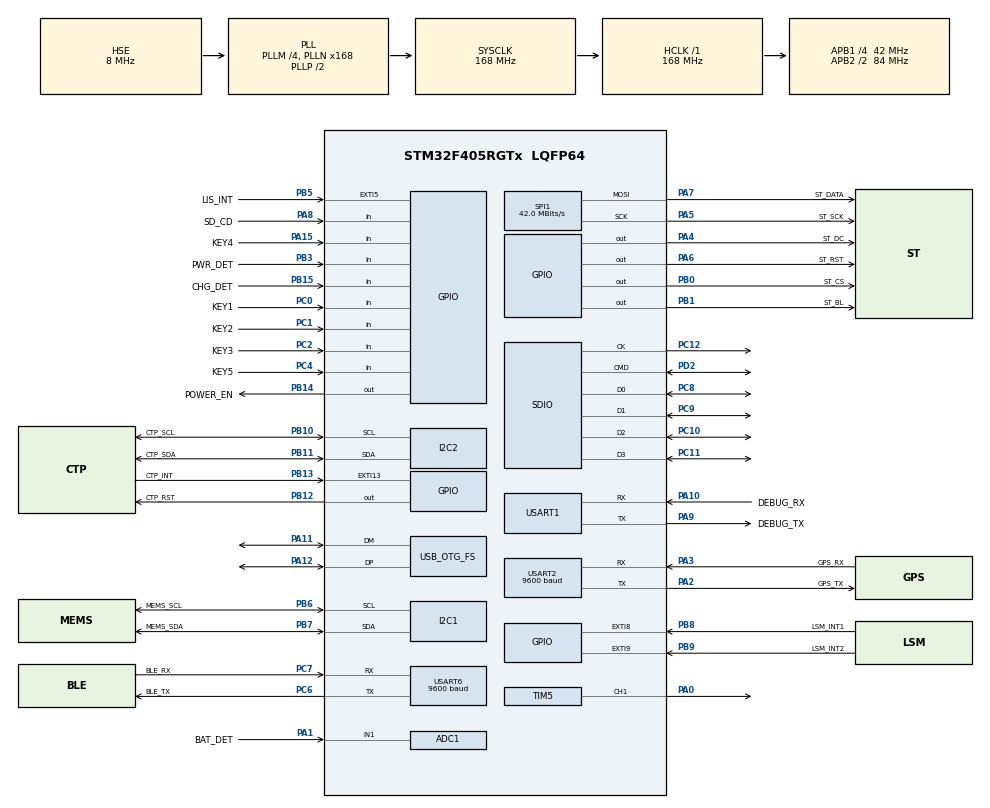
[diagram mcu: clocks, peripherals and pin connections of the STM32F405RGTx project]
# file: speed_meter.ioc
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ADC1.Channel-0\#ChannelRegularConversion=ADC_CHANNEL_1
ADC1.ClockPrescaler=ADC_CLOCK_SYNC_PCLK_DIV4
ADC1.ContinuousConvMode=ENABLE
ADC1.DMAContinuousRequests=DISABLE
ADC1.EnableAnalogWatchDog=true
ADC1.InjNumberOfConversion=0
ADC1.NbrOfConversion=1
ADC1.NbrOfConversionFlag=1
ADC1.Rank-0\#ChannelRegularConversion=1
ADC1.SamplingTime-0\#ChannelRegularConversion=ADC_SAMPLETIME_3CYCLES
ADC1.WatchdogChannel=ADC_CHANNEL_1
ADC1.master=1
Dma.I2C1_RX.0.Direction=DMA_PERIPH_TO_MEMORY
Dma.I2C1_RX.0.FIFOMode=DMA_FIFOMODE_DISABLE
Dma.I2C1_RX.0.Instance=DMA1_Stream0
Dma.I2C1_RX.0.MemDataAlignment=DMA_MDATAALIGN_BYTE
Dma.I2C1_RX.0.MemInc=DMA_MINC_ENABLE
Dma.I2C1_RX.0.Mode=DMA_NORMAL
Dma.I2C1_RX.0.PeriphDataAlignment=DMA_PDATAALIGN_BYTE
Dma.I2C1_RX.0.PeriphInc=DMA_PINC_DISABLE
Dma.I2C1_RX.0.Priority=DMA_PRIORITY_LOW
Dma.I2C2_RX.1.Direction=DMA_PERIPH_TO_MEMORY
Dma.I2C2_RX.1.FIFOMode=DMA_FIFOMODE_DISABLE
Dma.I2C2_RX.1.Instance=DMA1_Stream2
Dma.I2C2_RX.1.MemDataAlignment=DMA_MDATAALIGN_BYTE
Dma.I2C2_RX.1.MemInc=DMA_MINC_ENABLE
Dma.I2C2_RX.1.Mode=DMA_NORMAL
Dma.I2C2_RX.1.PeriphDataAlignment=DMA_PDATAALIGN_BYTE
Dma.I2C2_RX.1.PeriphInc=DMA_PINC_DISABLE
Dma.I2C2_RX.1.Priority=DMA_PRIORITY_LOW
Dma.Request0=I2C1_RX
Dma.Request1=I2C2_RX
Dma.Request2=SPI1_TX
Dma.Request3=USART2_RX
Dma.Request4=USART6_RX
Dma.Request5=USART6_TX
Dma.Request6=SDIO
Dma.Request7=USART1_TX
Dma.SDIO.6.Direction=DMA_PERIPH_TO_MEMORY
Dma.SDIO.6.FIFOMode=DMA_FIFOMODE_ENABLE
Dma.SDIO.6.FIFOThreshold=DMA_FIFO_THRESHOLD_FULL
Dma.SDIO.6.Instance=DMA2_Stream3
Dma.SDIO.6.MemBurst=DMA_MBURST_INC4
Dma.SDIO.6.MemDataAlignment=DMA_MDATAALIGN_WORD
Dma.SDIO.6.MemInc=DMA_MINC_ENABLE
Dma.SDIO.6.Mode=DMA_PFCTRL
Dma.SDIO.6.PeriphBurst=DMA_PBURST_INC4
Dma.SDIO.6.PeriphDataAlignment=DMA_PDATAALIGN_WORD
Dma.SDIO.6.PeriphInc=DMA_PINC_DISABLE
Dma.SDIO.6.Priority=DMA_PRIORITY_LOW
Dma.SPI1_TX.2.Direction=DMA_MEMORY_TO_PERIPH
Dma.SPI1_TX.2.FIFOMode=DMA_FIFOMODE_DISABLE
Dma.SPI1_TX.2.Instance=DMA2_Stream5
Dma.SPI1_TX.2.MemDataAlignment=DMA_MDATAALIGN_HALFWORD
Dma.SPI1_TX.2.MemInc=DMA_MINC_ENABLE
Dma.SPI1_TX.2.Mode=DMA_NORMAL
Dma.SPI1_TX.2.PeriphDataAlignment=DMA_PDATAALIGN_HALFWORD
Dma.SPI1_TX.2.PeriphInc=DMA_PINC_DISABLE
Dma.SPI1_TX.2.Priority=DMA_PRIORITY_LOW
Dma.USART1_TX.7.Direction=DMA_MEMORY_TO_PERIPH
Dma.USART1_TX.7.FIFOMode=DMA_FIFOMODE_DISABLE
Dma.USART1_TX.7.Instance=DMA2_Stream7
Dma.USART1_TX.7.MemDataAlignment=DMA_MDATAALIGN_BYTE
Dma.USART1_TX.7.MemInc=DMA_MINC_ENABLE
Dma.USART1_TX.7.Mode=DMA_NORMAL
Dma.USART1_TX.7.PeriphDataAlignment=DMA_PDATAALIGN_BYTE
Dma.USART1_TX.7.PeriphInc=DMA_PINC_DISABLE
Dma.USART1_TX.7.Priority=DMA_PRIORITY_LOW
Dma.USART2_RX.3.Direction=DMA_PERIPH_TO_MEMORY
Dma.USART2_RX.3.FIFOMode=DMA_FIFOMODE_DISABLE
Dma.USART2_RX.3.Instance=DMA1_Stream5
Dma.USART2_RX.3.MemDataAlignment=DMA_MDATAALIGN_BYTE
Dma.USART2_RX.3.MemInc=DMA_MINC_ENABLE
Dma.USART2_RX.3.Mode=DMA_CIRCULAR
Dma.USART2_RX.3.PeriphDataAlignment=DMA_PDATAALIGN_BYTE
Dma.USART2_RX.3.PeriphInc=DMA_PINC_DISABLE
Dma.USART2_RX.3.Priority=DMA_PRIORITY_LOW
Dma.USART6_RX.4.Direction=DMA_PERIPH_TO_MEMORY
Dma.USART6_RX.4.FIFOMode=DMA_FIFOMODE_DISABLE
Dma.USART6_RX.4.Instance=DMA2_Stream1
Dma.USART6_RX.4.MemDataAlignment=DMA_MDATAALIGN_BYTE
Dma.USART6_RX.4.MemInc=DMA_MINC_ENABLE
Dma.USART6_RX.4.Mode=DMA_NORMAL
Dma.USART6_RX.4.PeriphDataAlignment=DMA_PDATAALIGN_BYTE
Dma.USART6_RX.4.PeriphInc=DMA_PINC_DISABLE
Dma.USART6_RX.4.Priority=DMA_PRIORITY_LOW
Dma.USART6_TX.5.Direction=DMA_MEMORY_TO_PERIPH
Dma.USART6_TX.5.FIFOMode=DMA_FIFOMODE_DISABLE
Dma.USART6_TX.5.Instance=DMA2_Stream6
Dma.USART6_TX.5.MemDataAlignment=DMA_MDATAALIGN_BYTE
Dma.USART6_TX.5.MemInc=DMA_MINC_ENABLE
Dma.USART6_TX.5.Mode=DMA_NORMAL
Dma.USART6_TX.5.PeriphDataAlignment=DMA_PDATAALIGN_BYTE
Dma.USART6_TX.5.PeriphInc=DMA_PINC_DISABLE
Dma.USART6_TX.5.Priority=DMA_PRIORITY_LOW
FATFS.BSP.number=1
FATFS0.BSP.STBoard=false
FATFS0.BSP.api=Unknown
FATFS0.BSP.instance=PA8
FATFS0.BSP.ip=GPIO
FATFS0.BSP.mode=Input
FATFS0.BSP.name=Detect_SDIO
FATFS0.BSP.solution=PA8
FREERTOS.Tasks01=main_task,24,2048,main_task_func,Default,NULL,Dynamic,NULL,NULL;key_task,8,256,key_task_func,As external,NULL,Dynamic,NULL,NULL;power_task,9,256,power_task_func,As external,NULL,Dynamic,NULL,NULL;gyro_task,40,256,gyro_task_func,As external,NULL,Dynamic,NULL,NULL;gps_task,32,256,gps_task_func,As external,NULL,Dynamic,NULL,NULL
FREERTOS.configTOTAL_HEAP_SIZE=40960
Mcu.Family=STM32F4
Mcu.Name=STM32F405RGTx
Mcu.Package=LQFP64
NVIC.DMA1_Stream0_IRQn=true\:5\:0\:false\:false\:true\:true\:false\:true\:true
NVIC.DMA1_Stream2_IRQn=true\:5\:0\:false\:false\:true\:true\:false\:true\:true
NVIC.DMA1_Stream5_IRQn=true\:5\:0\:false\:false\:true\:true\:false\:true\:true
NVIC.DMA2_Stream1_IRQn=true\:5\:0\:false\:false\:true\:true\:false\:true\:true
NVIC.DMA2_Stream3_IRQn=true\:5\:0\:false\:false\:true\:true\:false\:true\:true
NVIC.DMA2_Stream5_IRQn=true\:5\:0\:false\:false\:true\:true\:false\:true\:true
NVIC.DMA2_Stream6_IRQn=true\:5\:0\:false\:false\:true\:false\:false\:true\:true
NVIC.DMA2_Stream7_IRQn=true\:5\:0\:false\:false\:true\:true\:false\:true\:true
NVIC.EXTI15_10_IRQn=true\:5\:0\:false\:false\:true\:true\:true\:true\:true
NVIC.EXTI9_5_IRQn=true\:5\:0\:false\:false\:true\:true\:true\:true\:true
NVIC.I2C1_ER_IRQn=true\:5\:0\:false\:false\:true\:true\:true\:true\:true
NVIC.I2C1_EV_IRQn=true\:5\:0\:false\:false\:true\:true\:true\:true\:true
NVIC.I2C2_ER_IRQn=true\:5\:0\:false\:false\:true\:true\:true\:true\:true
NVIC.I2C2_EV_IRQn=true\:5\:0\:false\:false\:true\:true\:true\:true\:true
NVIC.OTG_FS_IRQn=true\:5\:0\:false\:false\:true\:true\:true\:true\:true
NVIC.PriorityGroup=NVIC_PRIORITYGROUP_4
NVIC.SDIO_IRQn=true\:5\:0\:false\:false\:true\:true\:true\:true\:true
NVIC.SPI1_IRQn=true\:5\:0\:false\:false\:true\:true\:true\:true\:true
NVIC.TIM1_UP_TIM10_IRQn=true\:15\:0\:false\:false\:true\:false\:true\:true\:true
NVIC.TIM2_IRQn=true\:5\:0\:false\:false\:true\:true\:true\:true\:true
NVIC.TimeBase=TIM1_UP_TIM10_IRQn
NVIC.TimeBaseIP=TIM1
NVIC.USART1_IRQn=true\:5\:0\:false\:false\:true\:true\:true\:true\:true
NVIC.USART2_IRQn=true\:5\:0\:true\:false\:true\:true\:true\:true\:true
NVIC.USART6_IRQn=true\:5\:0\:false\:false\:true\:true\:true\:true\:true
PA0-WKUP.Signal=S_TIM5_CH1
PA1.GPIO_Label=BAT_DET
PA1.Signal=ADCx_IN1
PA10.GPIO_Label=DEBUG_RX
PA10.Mode=Asynchronous
PA10.Signal=USART1_RX
PA11.Mode=Device_Only
PA11.Signal=USB_OTG_FS_DM
PA12.Mode=Device_Only
PA12.Signal=USB_OTG_FS_DP
PA13.Mode=Serial_Wire
PA13.Signal=SYS_JTMS-SWDIO
PA14.Mode=Serial_Wire
PA14.Signal=SYS_JTCK-SWCLK
PA15.GPIO_Label=KEY4
PA15.GPIO_PuPd=GPIO_PULLUP
PA15.Signal=GPIO_Input
PA2.GPIO_Label=GPS_TX
PA2.Mode=Asynchronous
PA2.Signal=USART2_TX
PA3.GPIO_Label=GPS_RX
PA3.Mode=Asynchronous
PA3.Signal=USART2_RX
PA4.GPIO_Label=ST_DC
PA4.GPIO_Speed=GPIO_SPEED_FREQ_MEDIUM
PA4.Signal=GPIO_Output
PA5.GPIO_Label=ST_SCK
PA5.Mode=TX_Only_Simplex_Unidirect_Master
PA5.Signal=SPI1_SCK
PA6.GPIO_Label=ST_RST
PA6.GPIO_Speed=GPIO_SPEED_FREQ_MEDIUM
PA6.PinState=GPIO_PIN_SET
PA6.Signal=GPIO_Output
PA7.GPIO_Label=ST_DATA
PA7.Mode=TX_Only_Simplex_Unidirect_Master
PA7.Signal=SPI1_MOSI
PA8.GPIO_Label=SD_CD
PA8.GPIO_PuPd=GPIO_PULLUP
PA8.Signal=GPIO_Input
PA9.GPIO_Label=DEBUG_TX
PA9.Mode=Asynchronous
PA9.Signal=USART1_TX
PB0.GPIO_Label=ST_CS
PB0.GPIO_Speed=GPIO_SPEED_FREQ_MEDIUM
PB0.PinState=GPIO_PIN_SET
PB0.Signal=GPIO_Output
PB1.GPIO_Label=ST_BL
PB1.GPIO_Speed=GPIO_SPEED_FREQ_MEDIUM
PB1.Signal=GPIO_Output
PB10.GPIO_Label=CTP_SCL
PB10.Mode=I2C
PB10.Signal=I2C2_SCL
PB11.GPIO_Label=CTP_SDA
PB11.Mode=I2C
PB11.Signal=I2C2_SDA
PB12.GPIO_Label=CTP_RST
PB12.PinState=GPIO_PIN_SET
PB12.Signal=GPIO_Output
PB13.GPIO_Label=CTP_INT
PB13.GPIO_ModeDefaultEXTI=GPIO_MODE_IT_FALLING
PB13.GPIO_PuPd=GPIO_PULLUP
PB13.Signal=GPXTI13
PB14.GPIO_Label=POWER_EN
PB14.GPIO_Speed=GPIO_SPEED_FREQ_MEDIUM
PB14.PinState=GPIO_PIN_SET
PB14.Signal=GPIO_Output
PB15.GPIO_Label=CHG_DET
PB15.GPIO_PuPd=GPIO_PULLUP
PB15.Signal=GPIO_Input
PB3.GPIO_Label=PWR_DET
PB3.GPIO_PuPd=GPIO_PULLUP
PB3.Signal=GPIO_Input
PB5.GPIO_Label=LIS_INT
PB5.Signal=GPXTI5
PB6.GPIO_Label=MEMS_SCL
PB6.Mode=I2C
PB6.Signal=I2C1_SCL
PB7.GPIO_Label=MEMS_SDA
PB7.Mode=I2C
PB7.Signal=I2C1_SDA
PB8.GPIO_Label=LSM_INT1
PB8.Signal=GPXTI8
PB9.GPIO_Label=LSM_INT2
PB9.Signal=GPXTI9
PC0.GPIO_Label=KEY1
PC0.GPIO_PuPd=GPIO_PULLUP
PC0.Signal=GPIO_Input
PC1.GPIO_Label=KEY2
PC1.GPIO_PuPd=GPIO_PULLUP
PC1.Signal=GPIO_Input
PC10.Mode=SD_4_bits_Wide_bus
PC10.Signal=SDIO_D2
PC11.Mode=SD_4_bits_Wide_bus
PC11.Signal=SDIO_D3
PC12.Mode=SD_4_bits_Wide_bus
PC12.Signal=SDIO_CK
PC14-OSC32_IN.Mode=LSE-External-Oscillator
PC14-OSC32_IN.Signal=RCC_OSC32_IN
PC15-OSC32_OUT.Mode=LSE-External-Oscillator
PC15-OSC32_OUT.Signal=RCC_OSC32_OUT
PC2.GPIO_Label=KEY3
PC2.GPIO_PuPd=GPIO_PULLUP
PC2.Signal=GPIO_Input
PC4.GPIO_Label=KEY5
PC4.GPIO_PuPd=GPIO_PULLUP
PC4.Signal=GPIO_Input
PC6.GPIO_Label=BLE_TX
PC6.Mode=Asynchronous
PC6.Signal=USART6_TX
PC7.GPIO_Label=BLE_RX
PC7.Mode=Asynchronous
PC7.Signal=USART6_RX
PC8.Mode=SD_4_bits_Wide_bus
PC8.Signal=SDIO_D0
PC9.Mode=SD_4_bits_Wide_bus
PC9.Signal=SDIO_D1
PD2.Mode=SD_4_bits_Wide_bus
PD2.Signal=SDIO_CMD
PH0-OSC_IN.Mode=HSE-External-Oscillator
PH0-OSC_IN.Signal=RCC_OSC_IN
PH1-OSC_OUT.Mode=HSE-External-Oscillator
PH1-OSC_OUT.Signal=RCC_OSC_OUT
ProjectManager.HeapSize=0x4000
ProjectManager.StackSize=0x2000
ProjectManager.TargetToolchain=MDK-ARM V5.32
RCC.48MHZClocksFreq_Value=48000000
RCC.AHBFreq_Value=168000000
RCC.APB1CLKDivider=RCC_HCLK_DIV4
RCC.APB1Freq_Value=42000000
RCC.APB1TimFreq_Value=84000000
RCC.APB2CLKDivider=RCC_HCLK_DIV2
RCC.APB2Freq_Value=84000000
RCC.APB2TimFreq_Value=168000000
RCC.CortexFreq_Value=168000000
RCC.HCLKFreq_Value=168000000
RCC.HSE_VALUE=8000000
RCC.HSI_VALUE=16000000
RCC.PLLM=4
RCC.PLLN=168
RCC.PLLQ=7
RCC.RCC_RTC_Clock_Source=RCC_RTCCLKSOURCE_LSE
RCC.RCC_RTC_Clock_SourceVirtual=RCC_RTCCLKSOURCE_LSE
RCC.SYSCLKFreq_VALUE=168000000
RCC.SYSCLKSource=RCC_SYSCLKSOURCE_PLLCLK
RCC.VCOOutputFreq_Value=336000000
SDIO.ClockDiv=6
SH.ADCx_IN1.0=ADC1_IN1,IN1
SH.S_TIM5_CH1.0=TIM5_CH1,PWM Generation1 CH1
SPI1.BaudRatePrescaler=SPI_BAUDRATEPRESCALER_2
SPI1.CalculateBaudRate=42.0 MBits/s
SPI1.Direction=SPI_DIRECTION_2LINES
SPI1.Mode=SPI_MODE_MASTER
SPI1.VirtualType=VM_MASTER
TIM2.AutoReloadPreload=TIM_AUTORELOAD_PRELOAD_DISABLE
TIM2.Period=500
TIM2.Prescaler=42000 -1
TIM5.AutoReloadPreload=TIM_AUTORELOAD_PRELOAD_ENABLE
TIM5.Channel-PWM\ Generation1\ CH1=TIM_CHANNEL_1
TIM5.Period=500
TIM5.Prescaler=84-1
USART1.VirtualMode=VM_ASYNC
USART2.BaudRate=9600
USART2.VirtualMode=VM_ASYNC
USART6.BaudRate=9600
USART6.VirtualMode=VM_ASYNC
USB_DEVICE.CLASS_NAME_FS=MSC
USB_DEVICE.MANUFACTURER_STRING-MSC_FS=Atguigu
USB_DEVICE.PRODUCT_STRING_MSC_FS=Speed Meter Mass Storage
USB_DEVICE.VirtualMode-MSC_FS=Msc
USB_DEVICE.VirtualModeFS=Msc_FS
USB_OTG_FS.VirtualMode=Device_Only
VP_FATFS_VS_SDIO.Mode=SDIO
VP_FREERTOS_VS_CMSIS_V2.Mode=CMSIS_V2
VP_SYS_VS_tim1.Mode=TIM1
VP_TIM2_VS_ClockSourceINT.Mode=Internal
VP_TIM5_VS_ClockSourceINT.Mode=Internal
VP_USB_DEVICE_VS_USB_DEVICE_MSC_FS.Mode=MSC_FS
board=custom

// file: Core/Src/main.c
/* USER CODE BEGIN Header */
/**
  ******************************************************************************
  * @file           : main.c
  * @brief          : Main program body
  ******************************************************************************
  * @attention
  *
  * Copyright (c) 2025 STMicroelectronics.
  * All rights reserved.
  *
  * This software is licensed under terms that can be found in the LICENSE file
  * in the root directory of this software component.
  * If no LICENSE file comes with this software, it is provided AS-IS.
  *
  ******************************************************************************
  */
/* USER CODE END Header */
#include "main.h"
#include "cmsis_os.h"
#include "adc.h"
#include "dma.h"
#include "fatfs.h"
#include "i2c.h"
#include "sdio.h"
#include "spi.h"
#include "tim.h"
#include "usart.h"
#include "usb_device.h"
#include "gpio.h"

void SystemClock_Config(void);
void MX_FREERTOS_Init(void);

int main(void)
{

  /* MCU Configuration--------------------------------------------------------*/

  /* Reset of all peripherals, Initializes the Flash interface and the Systick. */
  HAL_Init();

  /* Configure the system clock */
  SystemClock_Config();

  /* Initialize all configured peripherals */
  MX_GPIO_Init();
  MX_DMA_Init();
  MX_USART1_UART_Init();
  MX_ADC1_Init();
  MX_I2C1_Init();
  MX_SPI1_Init();
  MX_USART2_UART_Init();
  MX_I2C2_Init();
  MX_SDIO_SD_Init();
  MX_USART6_UART_Init();
  MX_FATFS_Init();
  MX_TIM2_Init();
  MX_TIM5_Init();

  /* Init scheduler */
  osKernelInitialize();  /* Call init function for freertos objects (in cmsis_os2.c) */
  MX_FREERTOS_Init();

  /* Start scheduler */
  osKernelStart();

  /* We should never get here as control is now taken by the scheduler */

  /* Infinite loop */
  while (1)
  {

  }
}

void SystemClock_Config(void)
{
  RCC_OscInitTypeDef RCC_OscInitStruct = {0};
  RCC_ClkInitTypeDef RCC_ClkInitStruct = {0};

  /** Configure the main internal regulator output voltage
  */
  __HAL_RCC_PWR_CLK_ENABLE();
  __HAL_PWR_VOLTAGESCALING_CONFIG(PWR_REGULATOR_VOLTAGE_SCALE1);

  /** Initializes the RCC Oscillators according to the specified parameters
  * in the RCC_OscInitTypeDef structure.
  */
  RCC_OscInitStruct.OscillatorType = RCC_OSCILLATORTYPE_HSE;
  RCC_OscInitStruct.HSEState = RCC_HSE_ON;
  RCC_OscInitStruct.PLL.PLLState = RCC_PLL_ON;
  RCC_OscInitStruct.PLL.PLLSource = RCC_PLLSOURCE_HSE;
  RCC_OscInitStruct.PLL.PLLM = 4;
  RCC_OscInitStruct.PLL.PLLN = 168;
  RCC_OscInitStruct.PLL.PLLP = RCC_PLLP_DIV2;
  RCC_OscInitStruct.PLL.PLLQ = 7;
  if (HAL_RCC_OscConfig(&RCC_OscInitStruct) != HAL_OK)
  {
    Error_Handler();
  }

  /** Initializes the CPU, AHB and APB buses clocks
  */
  RCC_ClkInitStruct.ClockType = RCC_CLOCKTYPE_HCLK|RCC_CLOCKTYPE_SYSCLK
                              |RCC_CLOCKTYPE_PCLK1|RCC_CLOCKTYPE_PCLK2;
  RCC_ClkInitStruct.SYSCLKSource = RCC_SYSCLKSOURCE_PLLCLK;
  RCC_ClkInitStruct.AHBCLKDivider = RCC_SYSCLK_DIV1;
  RCC_ClkInitStruct.APB1CLKDivider = RCC_HCLK_DIV4;
  RCC_ClkInitStruct.APB2CLKDivider = RCC_HCLK_DIV2;

  if (HAL_RCC_ClockConfig(&RCC_ClkInitStruct, FLASH_LATENCY_5) != HAL_OK)
  {
    Error_Handler();
  }
}

void HAL_TIM_PeriodElapsedCallback(TIM_HandleTypeDef *htim)
{
  if (htim->Instance == TIM1)
  {
    HAL_IncTick();
  }
}

void Error_Handler(void)
{
  __disable_irq();
  while (1)
  {
  }
}

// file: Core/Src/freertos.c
/* USER CODE BEGIN Header */
/**
 ******************************************************************************
 * File Name          : freertos.c
 * Description        : Code for freertos applications
 ******************************************************************************
 * @attention
 *
 * Copyright (c) 2025 STMicroelectronics.
 * All rights reserved.
 *
 * This software is licensed under terms that can be found in the LICENSE file
 * in the root directory of this software component.
 * If no LICENSE file comes with this software, it is provided AS-IS.
 *
 ******************************************************************************
 */
/* USER CODE END Header */

#include "FreeRTOS.h"
#include "task.h"
#include "main.h"
#include "cmsis_os.h"

/* USER CODE BEGIN Includes */
#include "lvgl.h"
#include "lv_port_indev.h"
#include "lv_port_lcd_stm32.h"

// #include "demos/lv_demos.h"
#include "ui.h"
#include "fatfs.h"
#include "semphr.h"
/* USER CODE END Includes */

/* USER CODE BEGIN Variables */
SemaphoreHandle_t lvgl_mutex;
/* USER CODE END Variables */
/* Definitions for main_task */
osThreadId_t main_taskHandle;
const osThreadAttr_t main_task_attributes = {
  .name = "main_task",
  .stack_size = 2048 * 4,
  .priority = (osPriority_t) osPriorityNormal,
};
/* Definitions for key_task */
osThreadId_t key_taskHandle;
const osThreadAttr_t key_task_attributes = {
  .name = "key_task",
  .stack_size = 256 * 4,
  .priority = (osPriority_t) osPriorityLow,
};
/* Definitions for power_task */
osThreadId_t power_taskHandle;
const osThreadAttr_t power_task_attributes = {
  .name = "power_task",
  .stack_size = 256 * 4,
  .priority = (osPriority_t) osPriorityLow1,
};
/* Definitions for gyro_task */
osThreadId_t gyro_taskHandle;
const osThreadAttr_t gyro_task_attributes = {
  .name = "gyro_task",
  .stack_size = 256 * 4,
  .priority = (osPriority_t) osPriorityHigh,
};
/* Definitions for gps_take */
osThreadId_t gps_taskHandle;

const osThreadAttr_t gps_take_attributes = {
  .name = "gps_take",
  .stack_size = 256 * 4,
  .priority = (osPriority_t) osPriorityAboveNormal,
};

void main_task_func(void *argument);
extern void key_task_func(void *argument);
extern void power_task_func(void *argument);
extern void gyro_task_func(void *argument);
extern void gps_task_func(void *argument);

extern void MX_USB_DEVICE_Init(void);
void MX_FREERTOS_Init(void); /* (MISRA C 2004 rule 8.1) */

void MX_FREERTOS_Init(void) {

  /* USER CODE BEGIN RTOS_MUTEX */
  /* add mutexes, ... */
  lvgl_mutex = xSemaphoreCreateMutex();
  /* USER CODE END RTOS_MUTEX */

  /* Create the thread(s) */
  /* creation of main_task */
  main_taskHandle = osThreadNew(main_task_func, NULL, &main_task_attributes);

  /* creation of key_task */
  key_taskHandle = osThreadNew(key_task_func, NULL, &key_task_attributes);

  /* creation of power_task */
  power_taskHandle = osThreadNew(power_task_func, NULL, &power_task_attributes);

  /* creation of gyro_task */
  gyro_taskHandle = osThreadNew(gyro_task_func, NULL, &gyro_task_attributes);

  /* creation of gps_take */
  gps_taskHandle = osThreadNew(gps_task_func, NULL, &gps_take_attributes);

}

void main_task_func(void *argument)
{
  /* init code for USB_DEVICE */
  MX_USB_DEVICE_Init();
  /* USER CODE BEGIN main_task_func */

  // 1. 初始化LVGL
  lv_init();

  // 设置时钟回调
  lv_tick_set_cb(xTaskGetTickCount);
  lv_delay_set_cb(vTaskDelay);

  // 2. 初始化LVGL的显示设备
  lv_port_disp_init();
  // 3. 初始化触摸屏
  lv_port_indev_init();

  // 4. 使用demo
  // lv_demo_widgets();
  f_mount(&SDFatFS, SDPath, 1);
  ui_create();

  /* Infinite loop */
  for (;;)
  {
    if (xSemaphoreTake(lvgl_mutex, pdMS_TO_TICKS(100)) == pdTRUE)
    {
      uint32_t tick = lv_timer_handler();

      xSemaphoreGive(lvgl_mutex);
      osDelay(pdMS_TO_TICKS(tick));
    }
  }
  /* USER CODE END main_task_func */
}
